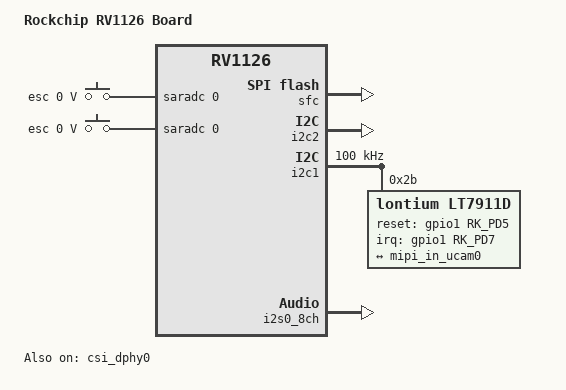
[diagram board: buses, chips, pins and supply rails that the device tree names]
// SPDX-License-Identifier: (GPL-2.0+ OR MIT)
/*
 * Copyright (c) 2020 Rockchip Electronics Co., Ltd.
 */

/dts-v1/;
#include "rv1126.dtsi"
#include "rv1126-mi.dtsi"

/ {
	model = "Rockchip RV1126 Board";
	compatible = "rockchip,rv1126-toybrick-mi", "rockchip,rv1126";

        chosen {
                bootargs = "earlycon=uart8250,mmio32,0xff570000 console=ttyFIQ0 ubi.mtd=3 root=ubi0:rootfs rootfstype=ubifs snd_aloop.index=7";
        };

	dummy_codec: dummy-codec {
		compatible = "rockchip,dummy-codec";
		#sound-dai-cells = <0>;
	};
	lt7911d_i2s: lt7911d_i2s {
		status = "okay";
		compatible = "simple-audio-card";
		simple-audio-card,name = "LT,lt7911d_i2s";
		simple-audio-card,cpu {
			sound-dai = <&i2s0_8ch>;
		};
		simple-audio-card,codec {
			sound-dai = <&dummy_codec>;
			frame-master;
			bitclock-master; 
		};
	};
	
	adc-keys {
		compatible = "adc-keys";
		io-channels = <&saradc 0>;
		io-channel-names = "buttons";
		poll-interval = <100>;
		keyup-threshold-microvolt = <1800000>;
		
		esc-key {
			label = "esc";
			linux,code = <KEY_ESC>;
			press-threshold-microvolt = <0>;    
		};    
	};
	
	adc2-keys {
		compatible = "adc-keys";
		io-channels = <&saradc 0>;
		io-channel-names = "buttons";
		poll-interval = <100>;
		keyup-threshold-microvolt = <1800000>;
		
		esc-key {
			label = "esc";
			linux,code = <KEY_ESC>;
			press-threshold-microvolt = <0>;    
		};    
	};
};

&sfc {
	status = "okay";
};

&i2c2 {
	status = "okay";
};

&gmac {
	status = "disabled";
};

&i2c1 {
	status = "okay";
	clock-frequency = <100000>;
	pinctrl-0 = <&i2c1_xfer>;
	lt7911d: lt7911d@2b {
		compatible = "lontium,lt7911d";
                reg = <0x2b>;
                clocks = <&cru CLK_MIPICSI_OUT>;
                clock-names = "xvclk";
                power-domains = <&power RV1126_PD_VI>;
                pinctrl-names = "rockchip,camera_default";
                pinctrl-0 = <&mipicsi_clk0>;
		reset-gpios = <&gpio1 RK_PD5 GPIO_ACTIVE_HIGH>;
                irq-gpios = <&gpio1 RK_PD7 IRQ_TYPE_EDGE_RISING>;
                port {
                        bridge_out0: endpoint {
                                remote-endpoint = <&mipi_in_ucam0>;
                                data-lanes = <1 2 3 4>;
                        };
                };
	};

};

&csi_dphy0 {
        status = "okay";

        ports {
                #address-cells = <1>;
                #size-cells = <0>;
                port@0 {
                        reg = <0>;
                        #address-cells = <1>;
                        #size-cells = <0>;

                        mipi_in_ucam0: endpoint@1 {
                                reg = <1>;
                                remote-endpoint = <&bridge_out0>;
                                data-lanes = <1 2 3 4>;
                        };
                };
        };
};

&i2s0_8ch {
	status = "okay";
	#sound-dai-cells = <0>;
	rockchip,clk-trcm = <1>;
	pinctrl-names = "default";
	pinctrl-0 = <&i2s0m0_sclk_tx
		     &i2s0m0_lrck_tx
		     &i2s0m0_sdi0
		     &i2s0m0_sdo1_sdi3>;
};
